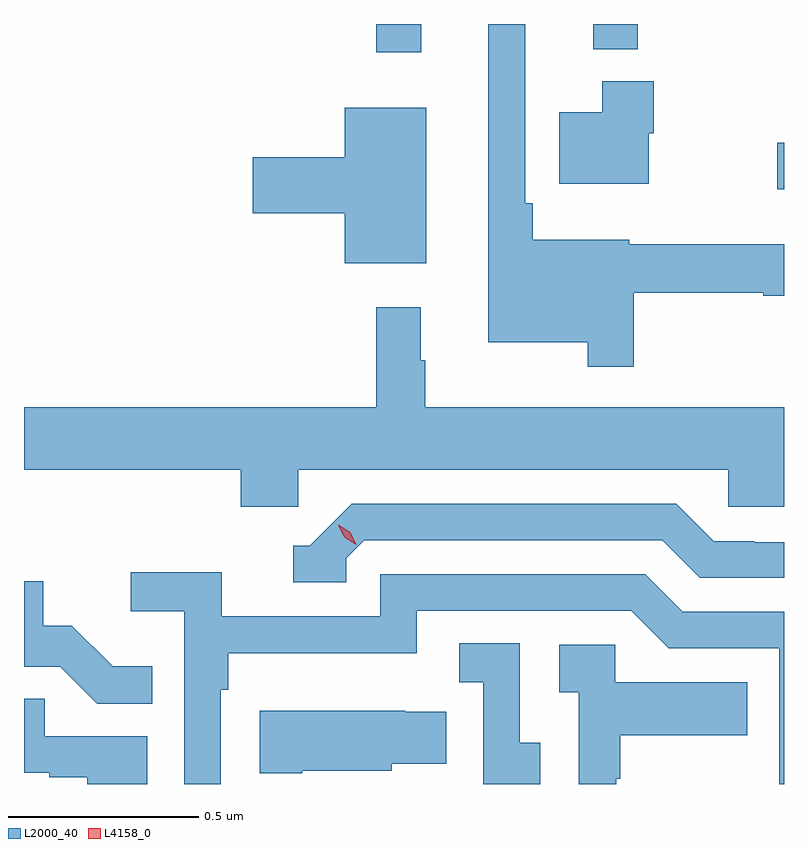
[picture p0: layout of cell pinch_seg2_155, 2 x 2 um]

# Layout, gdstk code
import gdstk
lib = gdstk.Library(unit=1e-6, precision=1e-09)
def R(c, l, rs):  # rectangles x0, y0, x1, y1
    for r in rs: c.add(gdstk.rectangle(r[:2], r[2:], *l))
def P(c, l, *ps):  # polygons
    for p in ps: c.add(gdstk.Polygon(p, *l))
L2000_40 = (2000, 40)
L4158_0 = (4158, 0)

pinch_seg2_155 = lib.new_cell('pinch_seg2_155')
R(pinch_seg2_155, L2000_40, [(1108.44,637.718,1108.458,637.84), (1107.385,638.079,1107.503,638.153), (1107.956,638.087,1108.073,638.153)])
P(pinch_seg2_155, L2000_40, [(1108.063,637.446),(1108.404,637.446),(1108.404,637.438),(1108.458,637.438),(1108.458,637.574),(1108.051,637.574),(1108.051,637.585),(1107.797,637.585),(1107.797,637.681),(1107.777,637.681),(1107.777,638.153),(1107.68,638.153),(1107.68,637.316),(1107.942,637.316),(1107.942,637.251),(1108.063,637.251)],
  [(1108.102,637.866),(1108.115,637.866),(1108.115,638.002),(1107.98,638.002),(1107.98,637.921),(1107.866,637.921),(1107.866,637.733),(1108.102,637.733)],
  [(1107.517,637.933),(1107.302,637.933),(1107.302,637.802),(1107.06,637.802),(1107.06,637.655),(1107.302,637.655),(1107.302,637.523),(1107.517,637.523)],
  [(1107.18,636.98),(1108.311,636.98),(1108.311,636.882),(1108.458,636.882),(1108.458,637.144),(1107.514,637.144),(1107.514,637.268),(1107.502,637.268),(1107.502,637.408),(1107.385,637.408),(1107.385,637.144),(1106.458,637.144),(1106.458,636.98),(1107.029,636.98),(1107.029,636.882),(1107.18,636.882)],
  [(1107.306,636.747),(1107.354,636.795),(1108.137,636.795),(1108.236,636.696),(1108.458,636.696),(1108.458,636.789),(1108.38,636.789),(1108.38,636.792),(1108.273,636.792),(1108.174,636.891),(1107.321,636.891),(1107.21,636.78),(1107.167,636.78),(1107.167,636.684),(1107.306,636.684)],
  [(1106.976,636.401),(1106.996,636.401),(1106.996,636.497),(1107.492,636.497),(1107.492,636.609),(1108.056,636.609),(1108.155,636.51),(1108.446,636.51),(1108.446,636.153),(1108.458,636.153),(1108.458,636.606),(1108.192,636.606),(1108.093,636.705),(1107.396,636.705),(1107.396,636.594),(1106.978,636.594),(1106.978,636.71),(1106.739,636.71),(1106.739,636.608),(1106.88,636.608),(1106.88,636.153),(1106.976,636.153)],
  [(1106.795,636.463),(1106.691,636.463),(1106.584,636.57),(1106.508,636.57),(1106.508,636.687),(1106.458,636.687),(1106.458,636.462),(1106.553,636.462),(1106.651,636.364),(1106.795,636.364)],
  [(1107.817,636.261),(1107.762,636.261),(1107.762,636.524),(1107.603,636.524),(1107.603,636.421),(1107.666,636.421),(1107.666,636.153),(1107.817,636.153)],
  [(1108.017,636.167),(1108.027,636.167),(1108.027,636.281),(1108.361,636.281),(1108.361,636.421),(1108.014,636.421),(1108.014,636.519),(1107.867,636.519),(1107.867,636.395),(1107.918,636.395),(1107.918,636.153),(1108.017,636.153)],
  [(1106.782,636.279),(1106.513,636.279),(1106.513,636.377),(1106.458,636.377),(1106.458,636.183),(1106.525,636.183),(1106.525,636.171),(1106.624,636.171),(1106.624,636.153),(1106.782,636.153)],
  [(1107.19,636.188),(1107.426,636.188),(1107.426,636.206),(1107.569,636.206),(1107.569,636.343),(1107.461,636.343),(1107.461,636.346),(1107.078,636.346),(1107.078,636.181),(1107.19,636.181)])
P(pinch_seg2_155, L4158_0, [(1107.332,636.782),(1107.301,636.802),(1107.285,636.835),(1107.285,636.835),(1107.285,636.835),(1107.316,636.815),(1107.332,636.783),(1107.332,636.782)])

lib.write_gds('pinch_seg2_155.gds')
